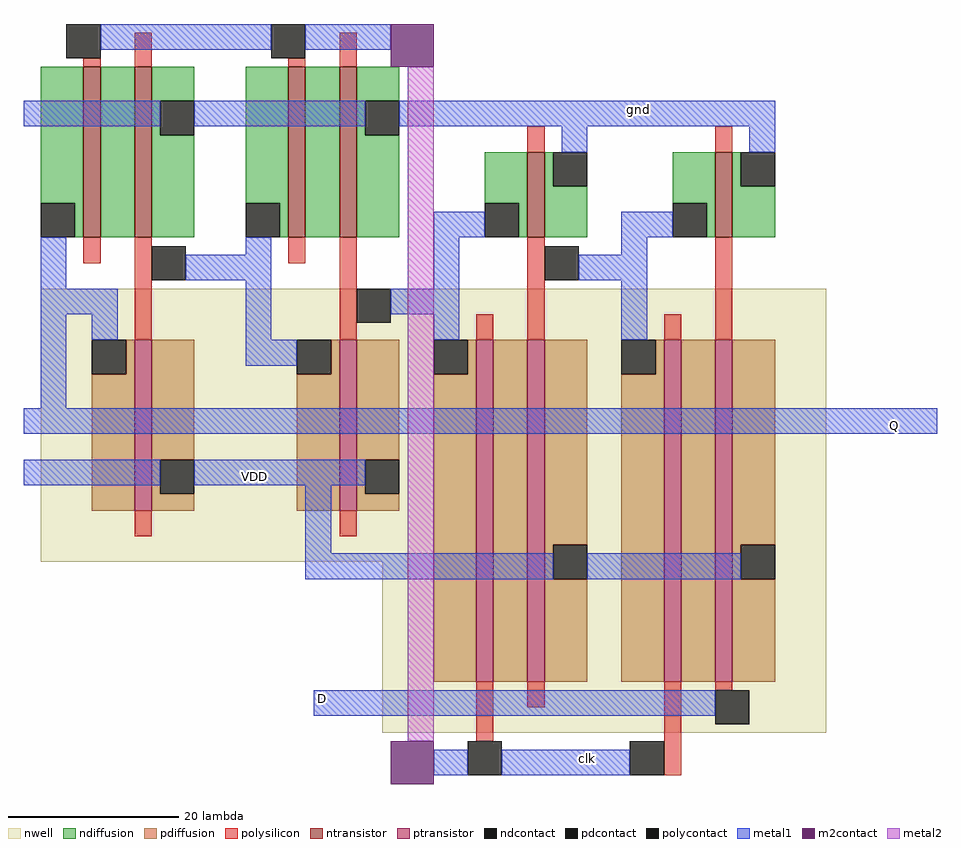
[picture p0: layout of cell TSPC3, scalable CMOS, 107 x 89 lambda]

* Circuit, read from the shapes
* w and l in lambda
.subckt TSPC3 D Q VDD clk gnd
M1 n1 clk Q VSUBS nfet w=20 l=2
M2 gnd n2 n1 VSUBS nfet w=20 l=2
M3 n3 clk n2 VSUBS nfet w=20 l=2
M4 gnd n4 n3 VSUBS nfet w=20 l=2
M5 gnd n5 n4 VSUBS nfet w=10 l=2
M6 gnd D n5 VSUBS nfet w=10 l=2
M7 VDD n2 Q n6 pfet w=20 l=2
M8 VDD n4 n2 n6 pfet w=20 l=2
M9 n7 clk n4 n6 pfet w=40 l=2
M10 VDD n5 n7 n6 pfet w=40 l=2
M11 n8 clk n5 n6 pfet w=40 l=2
M12 VDD D n8 n6 pfet w=40 l=2
.ends

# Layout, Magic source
magic
tech scmos
<< nwell >>
rect 444 -378 536 -346
rect 484 -398 536 -378
<< ntransistor >>
rect 449 -340 451 -320
rect 455 -340 457 -320
rect 473 -340 475 -320
rect 479 -340 481 -320
rect 501 -340 503 -330
rect 523 -340 525 -330
<< ptransistor >>
rect 455 -372 457 -352
rect 479 -372 481 -352
rect 495 -392 497 -352
rect 501 -392 503 -352
rect 517 -392 519 -352
rect 523 -392 525 -352
<< ndiffusion >>
rect 444 -336 449 -320
rect 448 -340 449 -336
rect 451 -340 455 -320
rect 457 -324 462 -320
rect 457 -328 458 -324
rect 457 -340 462 -328
rect 468 -336 473 -320
rect 472 -340 473 -336
rect 475 -340 479 -320
rect 481 -324 486 -320
rect 481 -328 482 -324
rect 481 -340 486 -328
rect 496 -336 501 -330
rect 500 -340 501 -336
rect 503 -334 504 -330
rect 503 -340 508 -334
rect 518 -336 523 -330
rect 522 -340 523 -336
rect 525 -334 526 -330
rect 525 -340 530 -334
<< pdiffusion >>
rect 454 -356 455 -352
rect 450 -372 455 -356
rect 457 -366 462 -352
rect 457 -370 458 -366
rect 457 -372 462 -370
rect 478 -356 479 -352
rect 474 -372 479 -356
rect 481 -366 486 -352
rect 481 -370 482 -366
rect 481 -372 486 -370
rect 494 -356 495 -352
rect 490 -392 495 -356
rect 497 -392 501 -352
rect 503 -376 508 -352
rect 503 -380 504 -376
rect 503 -392 508 -380
rect 516 -356 517 -352
rect 512 -392 517 -356
rect 519 -392 523 -352
rect 525 -376 530 -352
rect 525 -380 526 -376
rect 525 -392 530 -380
<< ndcontact >>
rect 444 -340 448 -336
rect 458 -328 462 -324
rect 468 -340 472 -336
rect 482 -328 486 -324
rect 496 -340 500 -336
rect 504 -334 508 -330
rect 518 -340 522 -336
rect 526 -334 530 -330
<< pdcontact >>
rect 450 -356 454 -352
rect 458 -370 462 -366
rect 474 -356 478 -352
rect 482 -370 486 -366
rect 490 -356 494 -352
rect 504 -380 508 -376
rect 512 -356 516 -352
rect 526 -380 530 -376
<< polysilicon >>
rect 449 -320 451 -319
rect 455 -320 457 -316
rect 473 -320 475 -319
rect 479 -320 481 -316
rect 501 -330 503 -327
rect 523 -330 525 -327
rect 449 -343 451 -340
rect 455 -352 457 -340
rect 473 -343 475 -340
rect 479 -352 481 -340
rect 495 -352 497 -349
rect 501 -352 503 -340
rect 517 -352 519 -349
rect 523 -352 525 -340
rect 455 -375 457 -372
rect 479 -375 481 -372
rect 495 -399 497 -392
rect 501 -395 503 -392
rect 517 -403 519 -392
rect 523 -393 525 -392
<< polycontact >>
rect 447 -319 451 -315
rect 471 -319 475 -315
rect 457 -345 461 -341
rect 481 -350 485 -346
rect 503 -345 507 -341
rect 494 -403 498 -399
rect 513 -403 517 -399
rect 523 -397 527 -393
<< metal1 >>
rect 451 -318 471 -315
rect 475 -318 485 -315
rect 442 -327 458 -324
rect 462 -327 482 -324
rect 486 -327 530 -324
rect 505 -330 508 -327
rect 527 -330 530 -327
rect 490 -340 496 -337
rect 512 -340 518 -337
rect 444 -346 447 -340
rect 468 -342 471 -340
rect 461 -345 471 -342
rect 444 -349 453 -346
rect 444 -360 447 -349
rect 450 -352 453 -349
rect 468 -352 471 -345
rect 490 -346 493 -340
rect 512 -342 515 -340
rect 507 -345 515 -342
rect 485 -349 493 -346
rect 490 -352 493 -349
rect 512 -352 515 -345
rect 468 -355 474 -352
rect 442 -363 549 -360
rect 442 -369 458 -366
rect 462 -369 482 -366
rect 475 -377 478 -369
rect 475 -380 504 -377
rect 508 -380 526 -377
rect 476 -396 523 -393
rect 490 -403 494 -400
rect 498 -403 513 -400
<< m2contact >>
rect 485 -320 490 -315
rect 485 -404 490 -399
<< metal2 >>
rect 487 -399 490 -320
<< labels >>
rlabel metal1 514 -325 514 -325 5 gnd
rlabel metal1 508 -401 508 -401 1 clk
rlabel metal1 544 -362 544 -362 7 Q
rlabel metal1 477 -394 477 -394 1 D
rlabel metal1 469 -368 469 -368 1 VDD
<< end >>
